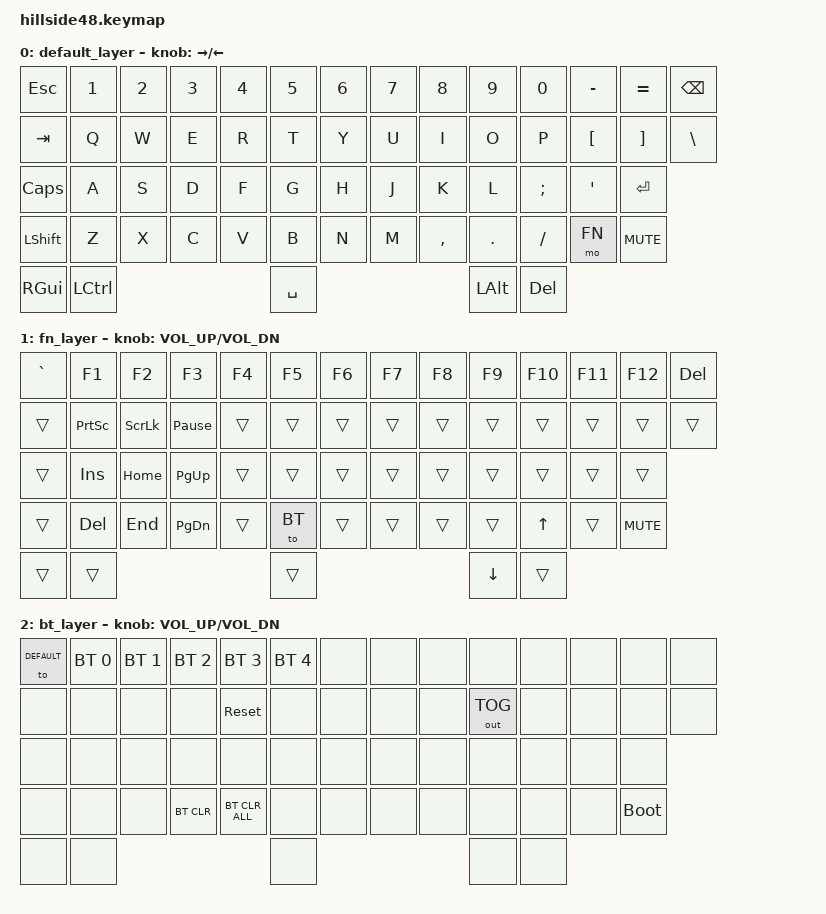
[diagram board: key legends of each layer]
/*
 * Copyright (c) 2022 The ZMK Contributors
 *
 * SPDX-License-Identifier: MIT
 */

#include <behaviors.dtsi>
#include <dt-bindings/zmk/bt.h>
#include <dt-bindings/zmk/ext_power.h>
#include <dt-bindings/zmk/keys.h>
#include <dt-bindings/zmk/outputs.h>

#define DEFAULT 0
#define FN 1
#define BT 2

&mt {
    tapping-term-ms = <400>;
};

/ {
    keymap {
        compatible = "zmk,keymap";

        default_layer {
            bindings = <
&kp ESC    &kp N1 &kp N2 &kp N3 &kp N4 &kp N5 &kp N6 &kp N7 &kp N8    &kp N9   &kp N0    &kp MINUS &kp EQUAL &kp BSPC
&kp TAB    &kp Q  &kp W  &kp E  &kp R  &kp T  &kp Y  &kp U  &kp I     &kp O    &kp P     &kp LBKT  &kp RBKT  &kp BSLH
&kp CAPS   &kp A  &kp S  &kp D  &kp F  &kp G  &kp H  &kp J  &kp K     &kp L    &kp SEMI  &kp SQT   &kp ENTER
&kp LSHFT  &kp Z  &kp X  &kp C  &kp V  &kp B  &kp N  &kp M  &kp COMMA &kp DOT  &kp SLASH &mo FN    &kp C_MUTE
&kp RGUI   &kp LCTRL                    &kp SPACE                       &kp LALT  &kp DEL  
            >;
sensor-bindings = <&inc_dec_kp RIGHT LEFT>;
        };

fn_layer {
            bindings = <
&kp GRAVE     &kp F1 &kp F2 &kp F3 &kp F4 &kp F5 &kp F6 &kp F7   &kp F8        &kp F9    &kp F10   &kp F11 &kp F12 &kp DEL
&trans &kp PSCRN &kp SLCK &kp PAUSE_BREAK &trans &trans &trans &trans &trans   &trans    &trans    &trans  &trans  &trans 
&trans &kp INS &kp HOME &kp PG_UP &trans &trans &trans &trans &trans   &trans  &trans    &trans    &trans
&trans &kp DEL &kp END &kp PG_DN &trans &to BT &trans &trans &trans &trans     &kp UP &trans  &kp C_MUTE
&trans &trans               &trans                      &kp DOWN   &trans
            >;
sensor-bindings = <&inc_dec_kp C_VOL_UP C_VOL_DN>;
        };

        bt_layer {
            bindings =<
&to DEFAULT &bt BT_SEL 0 &bt BT_SEL 1 &bt BT_SEL 2 &bt BT_SEL 3 &bt BT_SEL 4 &none &none &none &none &none &none &none &none
&none &none &none &none &sys_reset &none &none &none &none &out OUT_TOG &none &none &none &none
&none &none &none &none &none &none &none &none &none &none &none &none &none
&none &none &none &bt BT_CLR &bt BT_CLR_ALL	 &none &none &none &none &none &none &none &bootloader
&none &none             &none                   &none &none
>;
sensor-bindings = <&inc_dec_kp C_VOL_UP C_VOL_DN>;
    };
};

};
